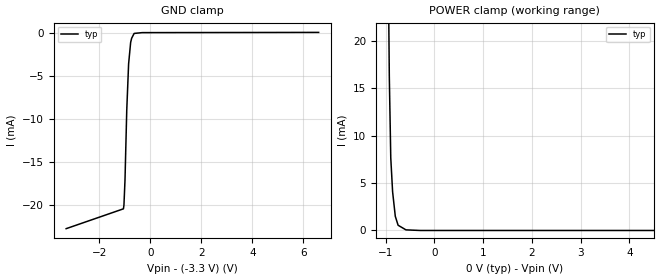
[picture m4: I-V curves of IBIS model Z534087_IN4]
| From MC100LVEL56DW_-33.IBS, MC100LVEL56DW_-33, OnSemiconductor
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| (C) COPYRIGHT 1993-2000
| MENTOR GRAPHICS CORPORATION
| ICX STANDARD LIBRARY, ICX PROJECT MODELING,
| ICX CUSTOM MODELING, ICX VENDOR MODEL
| ALL RIGHTS RESERVED.
| THE FOLLOWING ARE TRADEMARKS OR SERVICE MARKS OF
| MENTOR GRAPHICS CORPORATION:ICX (R), ICX STANDARD
| LIBRARY(R), ICX PROJECT MODELING(R), ICX CUSTOM
| MODELING(R), qualityIBIS(TM), MODELVIEWER(TM),
| AND MODELEDITOR(TM)
| ALL COPIES OF SOFTWARE, INCLUDING BUT NOT LIMITED TO
| ANY MODIFICATIONS, ENHANCEMENTS OR DERIVATIVE WORKS,
| MUST CONTAIN ALL MENTOR GRAPHICS CORPORATION'S
| NOTICES AND LEGENDS, INCLUDING THOSE EMBEDDED IN
| SOFTWARE AND THOSE AFFIXED TO SOFTWARE MEDIUM
| AND CONTAINER, AS RECEIVED FROM MENTOR GRAPHICS
| CORPORATION.
| Model Application Version 1.89 2/18/99.
[Model] Z534087_IN4
Model_type Input_ECL
Vinl = -1.900V
Vinh = -1.600V
C_comp 2.000pF NA NA
| variable typ   min   max
[Voltage Range] -3.300V NA NA
[GND Clamp Reference] -3.300V NA NA
[POWER Clamp Reference] 0.000V NA NA
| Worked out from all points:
|   GND clamp passes 1 mA (typ) near -0.76 V on its own axis
|   POWER clamp passes 1 mA (typ) near -0.77 V on its own axis
[GND Clamp]
-3.3V     -22.74mA   NA         NA
-1.054V   -20.44mA   NA         NA
-1.034V   -20.02mA   NA         NA
-993mV    -17.15mA   NA         NA
-924mV    -9.034mA   NA         NA
-851mV    -3.635mA   NA         NA
-771mV    -1.148mA   NA         NA
-732mV    -665.8uA   NA         NA
-634mV    -101.3uA   NA         NA
-317mV    -8.605uA   NA         NA
6.6V      17.51uA    NA         NA
[POWER Clamp]
-3.3V     1.296A     NA         NA
-927.3mV  16.23mA    NA         NA
-897.5mV  7.668mA    NA         NA
-859.9mV  4.095mA    NA         NA
-804.6mV  1.497mA    NA         NA
-746.9mV  551.6uA    NA         NA
-586mV    64.6uA     NA         NA
-293mV    0A         NA         NA
6.6V      0A         NA         NA
